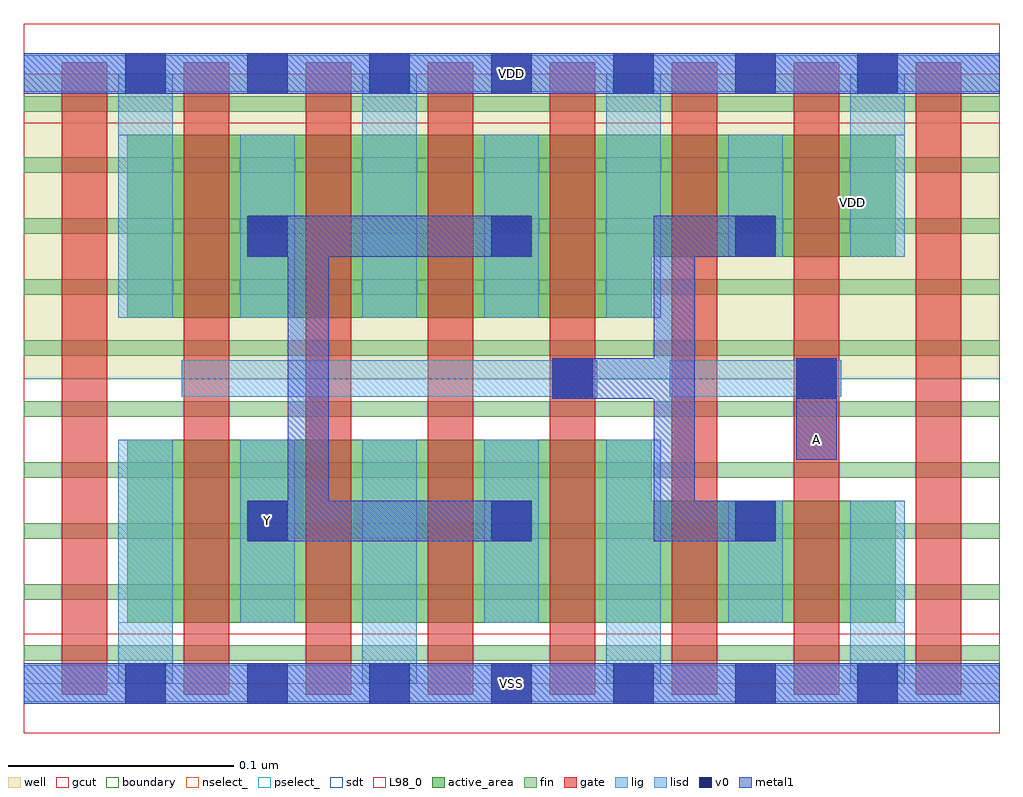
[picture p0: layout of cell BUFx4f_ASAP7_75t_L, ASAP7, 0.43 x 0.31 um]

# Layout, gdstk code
import gdstk
lib = gdstk.Library(unit=1e-6, precision=2.5e-10)
def R(c, l, rs):  # rectangles x0, y0, x1, y1
    for r in rs: c.add(gdstk.rectangle(r[:2], r[2:], *l))
def A(c, l, x, y, w, h, nx, ny, dx, dy):  # array of equal rectangles
    R(c, l, [(x+i*dx, y+j*dy, x+i*dx+w, y+j*dy+h) for i in range(nx) for j in range(ny)])
def P(c, l, *ps):  # polygons
    for p in ps: c.add(gdstk.Polygon(p, *l))
well = (1, 0)
fin = (2, 0)
gate = (7, 0)
gcut = (10, 0)
active_area = (11, 0)
nselect_ = (12, 0)
pselect_ = (13, 0)
lig = (16, 0)
lisd = (17, 0)
v0 = (18, 0)
metal1 = (19, 0)
sdt = (88, 0)
L98_0 = (98, 0)
boundary = (100, 0)

bufx4f_asap7_75t_l = lib.new_cell('BUFx4f_ASAP7_75t_L')
R(bufx4f_asap7_75t_l, well, [(0,0.135,0.432,0.27)])
A(bufx4f_asap7_75t_l, fin, 0, 0.01, 0.432, 0.007, 1, 10, 0, 0.027)
A(bufx4f_asap7_75t_l, gate, 0.017, -0.005, 0.02, 0.28, 8, 1, 0.054, 0)
R(bufx4f_asap7_75t_l, gcut, [(0,-0.022,0.432,0.022), (0,0.248,0.432,0.292)])
P(bufx4f_asap7_75t_l, active_area, [(0.386,0.081),(0.278,0.081),(0.278,0.108),(0.046,0.108),(0.046,0.027),(0.386,0.027)],
  [(0.386,0.243),(0.046,0.243),(0.046,0.162),(0.278,0.162),(0.278,0.189),(0.386,0.189)])
R(bufx4f_asap7_75t_l, nselect_, [(0,0,0.432,0.135)])
R(bufx4f_asap7_75t_l, pselect_, [(0,0.135,0.432,0.27)])
R(bufx4f_asap7_75t_l, lig, [(0,-0.008,0.432,0.008), (0.07,0.127,0.254,0.143), (0.286,0.127,0.362,0.143), (0,0.262,0.432,0.278)])
A(bufx4f_asap7_75t_l, lisd, 0.042, 0, 0.024, 0.108, 3, 2, 0.108, 0.162)
R(bufx4f_asap7_75t_l, lisd, [(0.366,0,0.39,0.081), (0.096,0.027,0.12,0.108), (0.204,0.027,0.228,0.108), (0.312,0.027,0.336,0.081), (0.096,0.162,0.12,0.243), (0.204,0.162,0.228,0.243), (0.312,0.189,0.336,0.243), (0.366,0.189,0.39,0.27)])
A(bufx4f_asap7_75t_l, v0, 0.045, -0.009, 0.018, 0.018, 7, 2, 0.054, 0.27)
A(bufx4f_asap7_75t_l, v0, 0.099, 0.063, 0.018, 0.018, 3, 2, 0.108, 0.126)
R(bufx4f_asap7_75t_l, v0, [(0.234,0.126,0.252,0.144), (0.342,0.126,0.36,0.144)])
R(bufx4f_asap7_75t_l, metal1, [(0,-0.009,0.432,0.009), (0.342,0.099,0.36,0.144), (0,0.261,0.432,0.279)])
P(bufx4f_asap7_75t_l, metal1, [(0.333,0.081),(0.297,0.081),(0.297,0.189),(0.333,0.189),(0.333,0.207),(0.279,0.207),(0.279,0.144),(0.234,0.144),(0.234,0.126),(0.279,0.126),(0.279,0.063),(0.333,0.063)],
  [(0.225,0.081),(0.135,0.081),(0.135,0.189),(0.225,0.189),(0.225,0.207),(0.099,0.207),(0.099,0.189),(0.117,0.189),(0.117,0.081),(0.099,0.081),(0.099,0.063),(0.225,0.063)])
A(bufx4f_asap7_75t_l, sdt, 0.042, 0.027, 0.024, 0.081, 5, 2, 0.054, 0.135)
R(bufx4f_asap7_75t_l, sdt, [(0.312,0.027,0.336,0.081), (0.366,0.027,0.39,0.081), (0.312,0.189,0.336,0.243), (0.366,0.189,0.39,0.243)])
R(bufx4f_asap7_75t_l, L98_0, [(0,0,0.432,0.27)])
R(bufx4f_asap7_75t_l, boundary, [(0,0,0.432,0.27)])
bufx4f_asap7_75t_l.add(gdstk.Label('Y', (0.108,0.072), layer=19, texttype=251))
bufx4f_asap7_75t_l.add(gdstk.Label('A', (0.351,0.108), layer=19, texttype=251))
bufx4f_asap7_75t_l.add(gdstk.Label('VSS', (0.216,0), layer=19, texttype=251))
bufx4f_asap7_75t_l.add(gdstk.Label('VDD', (0.216,0.27), layer=19, texttype=251))
bufx4f_asap7_75t_l.add(gdstk.Label('VDD', (0.367,0.213), layer=1, texttype=251))
bufx4f_asap7_75t_l.add(gdstk.Label('VSS', (0.497,0.213), layer=3, texttype=251))

lib.write_gds('BUFx4f_ASAP7_75t_L.gds')
